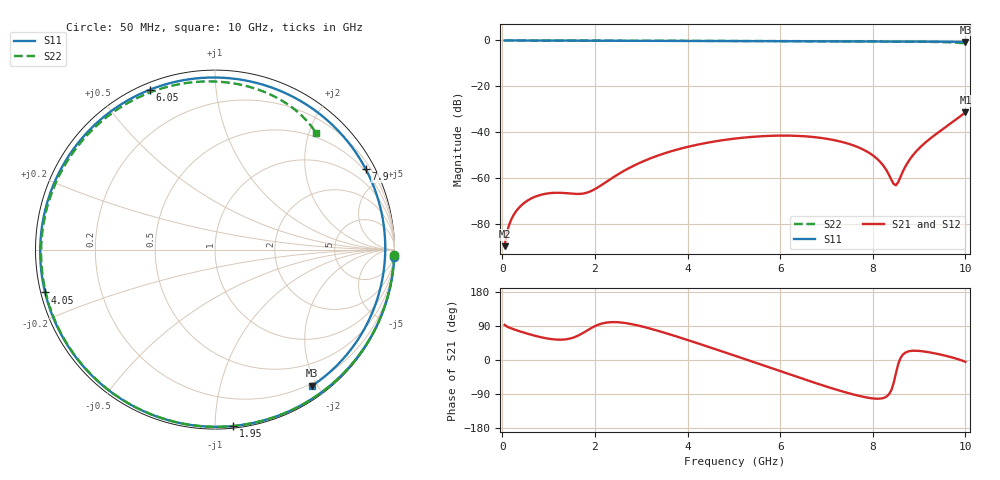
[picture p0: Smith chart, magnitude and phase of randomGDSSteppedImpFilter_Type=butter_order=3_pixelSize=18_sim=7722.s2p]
! freq	dB(S11)	phase(S11)	dB(S12)	phase(S12)
!  dB(S21)	phase(S21)	dB(S22)	phase(S22)
!S-par simulation data
#  GHz  S  DB  R 50
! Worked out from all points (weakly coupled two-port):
!   200 points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, 50 MHz to 10 GHz, reference 50 ohm
!   highest |S21| = -31.27 dB at 10 GHz (marker M1); lowest = -89.7 dB at 50 MHz (marker M2)
!   lowest |S11| = -0.6 dB at 10 GHz (marker M3), VSWR 28.35, Z = 8.38 - j96.6 ohm
!   |S11| at or under -10 dB: nowhere
!   |S22| runs from -1.3 to 0.0 dB; largest |S21 - S12| = 0
!   S11 on the Smith chart (normalised r, x): 50 MHz: 0, -52; 1.95 GHz: 0.01, -1.11; 4.05 GHz: 0.01, -0.12; 6.05 GHz: 0.03, +0.67; 7.9 GHz: 0.41, +3.96; 10 GHz: 0.17, -1.93
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0.05  -0.00 -2.2  -89.67 92.6  -89.67 92.6  -0.02 -1.8
0.15  -0.01 -6.7  -80.22 85.5  -80.22 85.5  -0.02 -5.3
0.35  -0.02 -15.6  -73.14 76.8  -73.14 76.8  -0.02 -12.2
0.7  -0.04 -31.1  -68.18 64.1  -68.18 64.1  -0.03 -24.4
1.25  -0.07 -55.0  -66.41 53.6  -66.41 53.6  -0.05 -43.1
1.75  -0.09 -75.9  -66.71 71.8  -66.71 71.8  -0.07 -59.5
1.95  -0.10 -84.1  -65.34 86.2  -65.34 86.2  -0.08 -65.9
2.65  -0.14 -112.0  -56.57 97.7  -56.57 97.7  -0.11 -87.5
3.4  -0.17 -140.9  -49.90 75.7  -49.90 75.7  -0.13 -109.4
4.05  -0.21 -165.8  -46.16 50.8  -46.16 50.8  -0.16 -127.5
5.05  -0.27 154.7  -42.71 10.2  -42.71 10.2  -0.21 -154.3
6.05  -0.34 112.3  -41.47 -31.4  -41.47 -31.4  -0.28 179.2
6.7  -0.37 83.0  -42.06 -58.2  -42.06 -58.2  -0.32 161.6
7.25  -0.40 57.7  -43.82 -79.6  -43.82 -79.6  -0.37 146.2
7.9  -0.42 28.1  -48.73 -99.6  -48.73 -99.6  -0.42 127.1
8.15  -0.44 17.0  -52.72 -102.0  -52.72 -102.0  -0.45 119.4
8.35  -0.45 8.3  -58.56 -90.2  -58.56 -90.2  -0.47 113.1
8.5  -0.46 2.0  -63.13 -34.8  -63.13 -34.8  -0.49 108.3
8.75  -0.47 -8.4  -53.37 22.1  -53.37 22.1  -0.52 100.1
8.95  -0.49 -16.4  -48.09 24.4  -48.09 24.4  -0.55 93.2
9.55  -0.55 -39.0  -38.11 11.9  -38.11 11.9  -0.74 70.7
10  -0.61 -54.5  -31.27 -4.8  -31.27 -4.8  -1.31 49.2
